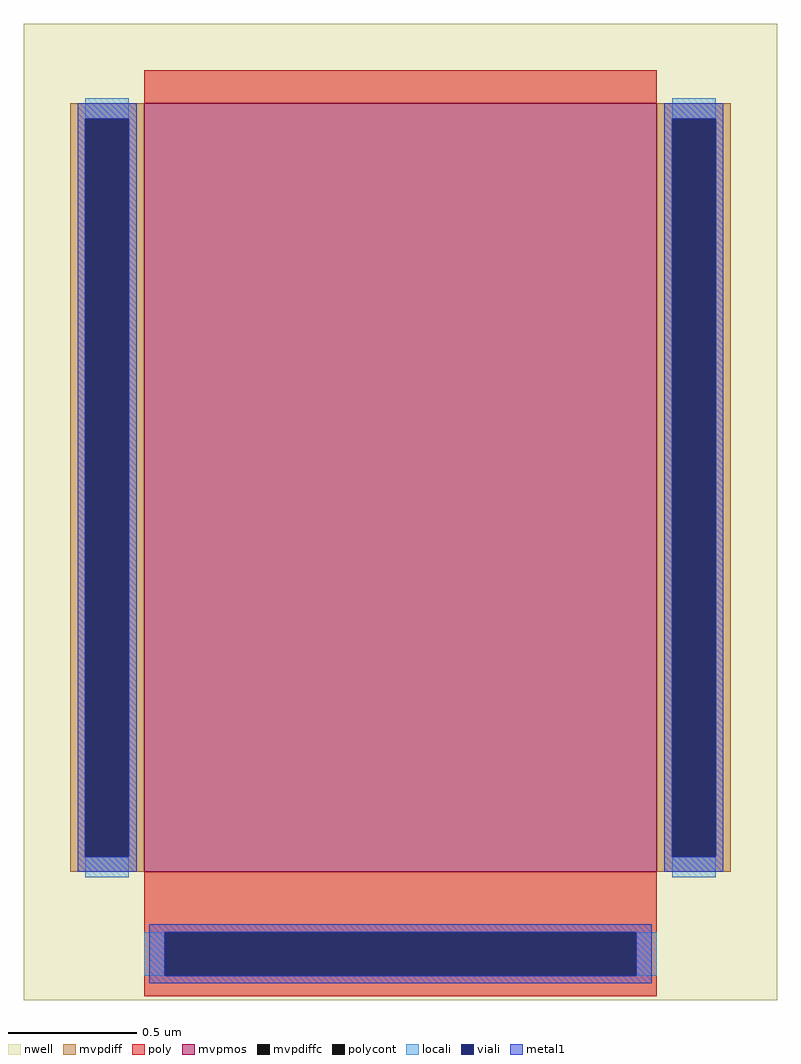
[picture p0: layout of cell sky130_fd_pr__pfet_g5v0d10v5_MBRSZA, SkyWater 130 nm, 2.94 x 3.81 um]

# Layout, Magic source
magic
tech sky130A
magscale 1 2
<< nwell >>
rect -294 -364 294 398
<< mvpmos >>
rect -200 -264 200 336
<< mvpdiff >>
rect -258 324 -200 336
rect -258 -252 -246 324
rect -212 -252 -200 324
rect -258 -264 -200 -252
rect 200 324 258 336
rect 200 -252 212 324
rect 246 -252 258 324
rect 200 -264 258 -252
<< mvpdiffc >>
rect -246 -252 -212 324
rect 212 -252 246 324
<< poly >>
rect -200 336 200 362
rect -200 -311 200 -264
rect -200 -345 -184 -311
rect 184 -345 200 -311
rect -200 -361 200 -345
<< polycont >>
rect -184 -345 184 -311
<< locali >>
rect -246 324 -212 340
rect -246 -268 -212 -252
rect 212 324 246 340
rect 212 -268 246 -252
rect -200 -345 -184 -311
rect 184 -345 200 -311
<< viali >>
rect -246 -252 -212 324
rect 212 -252 246 324
rect -184 -345 184 -311
<< metal1 >>
rect -252 324 -206 336
rect -252 -252 -246 324
rect -212 -252 -206 324
rect -252 -264 -206 -252
rect 206 324 252 336
rect 206 -252 212 324
rect 246 -252 252 324
rect 206 -264 252 -252
rect -196 -311 196 -305
rect -196 -345 -184 -311
rect 184 -345 196 -311
rect -196 -351 196 -345
<< properties >>
string gencell sky130_fd_pr__pfet_g5v0d10v5
string library sky130
string parameters w 3 l 2 m 1 nf 1 diffcov 100 polycov 100 guard 0 glc 1 grc 1 gtc 1 gbc 1 tbcov 100 rlcov 100 topc 0 botc 1 poverlap 0 doverlap 1 lmin 0.50 wmin 0.42 compatible {sky130_fd_pr__pfet_01v8  sky130_fd_pr__pfet_01v8_lvt sky130_fd_pr__pfet_01v8_hvt  sky130_fd_pr__pfet_g5v0d10v5} full_metal 1 viasrc 100 viadrn 100 viagate 100 viagb 0 viagr 0 viagl 0 viagt 0
<< end >>
